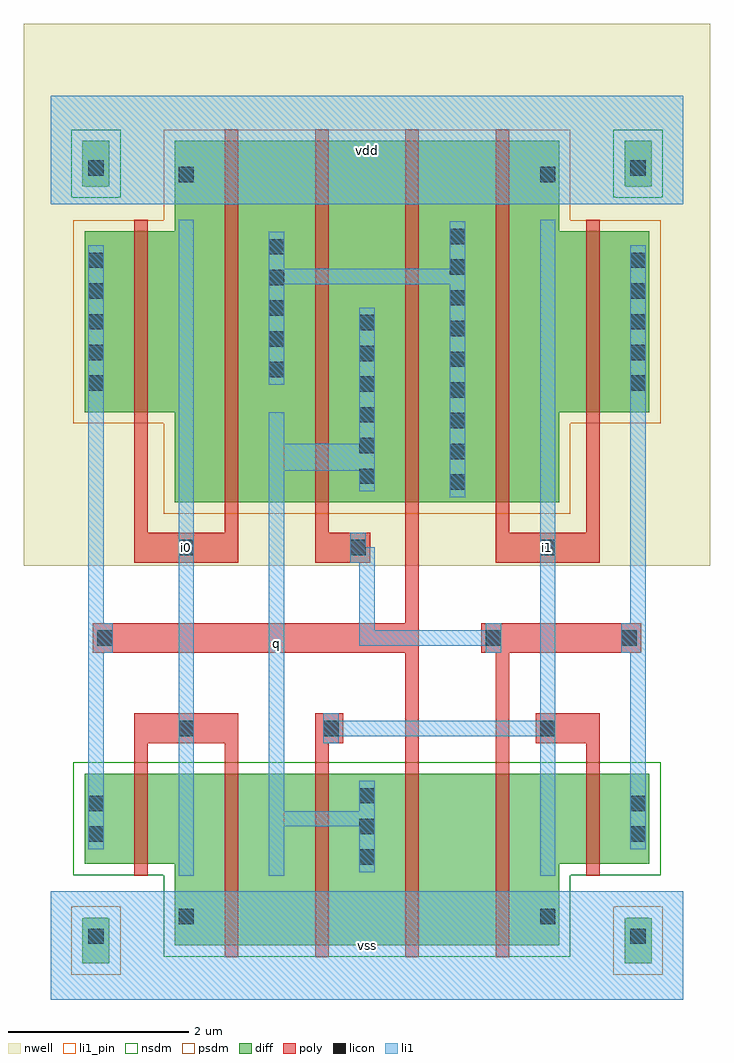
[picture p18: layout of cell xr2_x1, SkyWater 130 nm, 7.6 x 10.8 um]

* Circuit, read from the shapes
.subckt xr2_x1 i0 i1 q vdd vss
XM1 vss i0 n1 VSUBS sky130_fd_pr__nfet_01v8 w=1 l=0.15
XM2 n2 i0 vss VSUBS sky130_fd_pr__nfet_01v8 w=1.9 l=0.15
XM3 q i1 n2 VSUBS sky130_fd_pr__nfet_01v8 w=1.9 l=0.15
XM4 n3 n1 q VSUBS sky130_fd_pr__nfet_01v8 w=1.9 l=0.15
XM5 vss n4 n3 VSUBS sky130_fd_pr__nfet_01v8 w=1.9 l=0.15
XM6 n4 i1 vss VSUBS sky130_fd_pr__nfet_01v8 w=1 l=0.15
XM7 vdd i0 n1 n5 sky130_fd_pr__pfet_01v8 w=2 l=0.15
XM8 n6 i0 vdd n5 sky130_fd_pr__pfet_01v8 w=4 l=0.15
XM9 q n4 n6 n5 sky130_fd_pr__pfet_01v8 w=4 l=0.15
XM10 n6 n1 q n5 sky130_fd_pr__pfet_01v8 w=4 l=0.15
XM11 vdd i1 n6 n5 sky130_fd_pr__pfet_01v8 w=4 l=0.15
XM12 n4 i1 vdd n5 sky130_fd_pr__pfet_01v8 w=2 l=0.15
.ends

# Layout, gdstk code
import gdstk
lib = gdstk.Library(unit=1e-6, precision=1e-09)
def R(c, l, rs):  # rectangles x0, y0, x1, y1
    for r in rs: c.add(gdstk.rectangle(r[:2], r[2:], *l))
def A(c, l, x, y, w, h, nx, ny, dx, dy):  # array of equal rectangles
    R(c, l, [(x+i*dx, y+j*dy, x+i*dx+w, y+j*dy+h) for i in range(nx) for j in range(ny)])
def P(c, l, *ps):  # polygons
    for p in ps: c.add(gdstk.Polygon(p, *l))
nwell = (64, 20)
diff = (65, 20)
poly = (66, 20)
licon = (66, 44)
li1_pin = (67, 16)
li1 = (67, 20)
nsdm = (93, 44)
psdm = (94, 20)

xr2_x1 = lib.new_cell('xr2_x1')
R(xr2_x1, nwell, [(-0.3,4.8,7.3,10.8)])
P(xr2_x1, diff, [(0.35,0.4),(0.35,0.9),(0.375,0.9),(0.375,0.905),(0.625,0.905),(0.625,0.9),(0.65,0.9),(0.65,0.4)],
  [(6.35,0.4),(6.35,0.9),(6.375,0.9),(6.375,0.905),(6.625,0.905),(6.625,0.9),(6.65,0.9),(6.65,0.4)],
  [(1.375,0.6),(1.375,1.5),(0.375,1.5),(0.375,2.5),(6.625,2.5),(6.625,1.5),(5.625,1.5),(5.625,0.6)],
  [(0.375,8.995),(0.375,9),(0.35,9),(0.35,9.5),(0.65,9.5),(0.65,9),(0.625,9),(0.625,8.995)],
  [(1.375,5.5),(1.375,6.5),(0.375,6.5),(0.375,8.5),(1.375,8.5),(1.375,9.5),(5.625,9.5),(5.625,8.5),(6.625,8.5),(6.625,6.5),(5.625,6.5),(5.625,5.5)],
  [(6.375,8.995),(6.375,9),(6.35,9),(6.35,9.5),(6.65,9.5),(6.65,9),(6.625,9),(6.625,8.995)])
P(xr2_x1, poly, [(1.925,0.47),(1.925,2.835),(1.075,2.835),(1.075,1.37),(0.925,1.37),(0.925,3.165),(2.075,3.165),(2.075,0.47)],
  [(2.925,0.47),(2.925,3.165),(3.235,3.165),(3.235,2.835),(3.075,2.835),(3.075,0.47)],
  [(5.925,1.37),(5.925,2.835),(5.365,2.835),(5.365,3.165),(6.075,3.165),(6.075,1.37)],
  [(4.925,0.47),(4.925,3.835),(4.765,3.835),(4.765,4.165),(6.535,4.165),(6.535,3.835),(5.075,3.835),(5.075,0.47)],
  [(0.925,4.835),(0.925,8.63),(1.075,8.63),(1.075,5.165),(1.925,5.165),(1.925,9.63),(2.075,9.63),(2.075,4.835)],
  [(2.925,4.835),(2.925,9.63),(3.075,9.63),(3.075,5.165),(3.535,5.165),(3.535,4.835)],
  [(3.925,0.47),(3.925,3.835),(0.465,3.835),(0.465,4.165),(3.925,4.165),(3.925,9.63),(4.075,9.63),(4.075,0.47)],
  [(4.925,4.835),(4.925,9.63),(5.075,9.63),(5.075,5.165),(5.925,5.165),(5.925,8.63),(6.075,8.63),(6.075,4.835)])
A(xr2_x1, licon, 3.415, 1.49, 0.17, 0.17, 1, 3, 0, 0.34)
A(xr2_x1, licon, 4.415, 5.64, 0.17, 0.17, 1, 9, 0, 0.34)
A(xr2_x1, licon, 3.415, 5.705, 0.17, 0.17, 1, 6, 0, 0.34)
A(xr2_x1, licon, 0.415, 6.735, 0.17, 0.17, 1, 5, 0, 0.34)
A(xr2_x1, licon, 6.415, 6.735, 0.17, 0.17, 1, 5, 0, 0.34)
A(xr2_x1, licon, 2.415, 6.885, 0.17, 0.17, 1, 5, 0, 0.34)
R(xr2_x1, licon, [(0.415,0.615,0.585,0.785), (6.415,0.615,6.585,0.785), (1.415,0.835,1.585,1.005), (5.415,0.835,5.585,1.005), (0.415,1.745,0.585,1.915), (6.415,1.745,6.585,1.915), (0.415,2.085,0.585,2.255), (6.415,2.085,6.585,2.255), (1.415,2.915,1.585,3.085), (3.015,2.915,3.185,3.085), (5.415,2.915,5.585,3.085), (0.515,3.915,0.685,4.085), (4.815,3.915,4.985,4.085), (6.315,3.915,6.485,4.085), (1.415,4.915,1.585,5.085), (3.315,4.915,3.485,5.085), (5.415,4.915,5.585,5.085), (1.415,9.045,1.585,9.215), (5.415,9.045,5.585,9.215), (0.415,9.115,0.585,9.285), (6.415,9.115,6.585,9.285)])
R(xr2_x1, li1_pin, [(0,0,7,1.2), (1.415,1.37,1.585,8.63), (2.415,1.37,2.585,6.5), (5.415,1.37,5.585,8.63), (0,8.8,7,10)])
R(xr2_x1, li1, [(0,0,7,1.2), (1.415,1.37,1.585,8.63), (0,8.8,7,10)])
P(xr2_x1, li1, [(4.815,3.835),(4.815,3.915),(3.415,3.915),(3.415,4.835),(3.315,4.835),(3.315,5.165),(3.485,5.165),(3.485,5.005),(3.585,5.005),(3.585,4.085),(4.815,4.085),(4.815,4.165),(4.985,4.165),(4.985,3.835)],
  [(2.415,1.37),(2.415,6.5),(2.585,6.5),(2.585,6.15),(3.415,6.15),(3.415,7.655),(3.585,7.655),(3.585,5.625),(3.415,5.625),(3.415,5.85),(2.585,5.85),(2.585,2.085),(3.415,2.085),(3.415,2.42),(3.585,2.42),(3.585,1.41),(3.415,1.41),(3.415,1.915),(2.585,1.915),(2.585,1.37)],
  [(0.415,1.665),(0.415,8.345),(0.585,8.345),(0.585,4.165),(0.685,4.165),(0.685,3.835),(0.585,3.835),(0.585,1.665)],
  [(6.415,1.665),(6.415,3.835),(6.315,3.835),(6.315,4.165),(6.415,4.165),(6.415,8.345),(6.585,8.345),(6.585,1.665)],
  [(4.415,5.56),(4.415,7.915),(2.585,7.915),(2.585,6.805),(2.415,6.805),(2.415,8.495),(2.585,8.495),(2.585,8.085),(4.415,8.085),(4.415,8.61),(4.585,8.61),(4.585,5.56)],
  [(5.415,1.37),(5.415,2.915),(3.185,2.915),(3.185,2.835),(3.015,2.835),(3.015,3.165),(3.185,3.165),(3.185,3.085),(5.415,3.085),(5.415,8.63),(5.585,8.63),(5.585,1.37)])
P(xr2_x1, nsdm, [(1.25,0.475),(1.25,1.375),(0.25,1.375),(0.25,2.625),(6.75,2.625),(6.75,1.375),(5.75,1.375),(5.75,0.475)],
  [(0.25,8.87),(0.25,8.875),(0.225,8.875),(0.225,9.625),(0.775,9.625),(0.775,8.875),(0.75,8.875),(0.75,8.87)],
  [(6.25,8.87),(6.25,8.875),(6.225,8.875),(6.225,9.625),(6.775,9.625),(6.775,8.875),(6.75,8.875),(6.75,8.87)])
P(xr2_x1, psdm, [(0.225,0.275),(0.225,1.025),(0.25,1.025),(0.25,1.03),(0.75,1.03),(0.75,1.025),(0.775,1.025),(0.775,0.275)],
  [(6.225,0.275),(6.225,1.025),(6.25,1.025),(6.25,1.03),(6.75,1.03),(6.75,1.025),(6.775,1.025),(6.775,0.275)],
  [(1.25,5.375),(1.25,6.375),(0.25,6.375),(0.25,8.625),(1.25,8.625),(1.25,9.625),(5.75,9.625),(5.75,8.625),(6.75,8.625),(6.75,6.375),(5.75,6.375),(5.75,5.375)])
xr2_x1.add(gdstk.Label('q', (2.5,3.935), layer=67, texttype=16))
xr2_x1.add(gdstk.Label('vss', (3.5,0.6), layer=67, texttype=16))
xr2_x1.add(gdstk.Label('vdd', (3.5,9.4), layer=67, texttype=16))
xr2_x1.add(gdstk.Label('i0', (1.5,5), layer=67, texttype=16))
xr2_x1.add(gdstk.Label('i1', (5.5,5), layer=67, texttype=16))
xr2_x1.add(gdstk.Label('q', (2.5,3.935), layer=67, texttype=16))
xr2_x1.add(gdstk.Label('vss', (3.5,0.6), layer=67, texttype=16))
xr2_x1.add(gdstk.Label('vdd', (3.5,9.4), layer=67, texttype=16))
xr2_x1.add(gdstk.Label('i0', (1.5,5), layer=67, texttype=16))
xr2_x1.add(gdstk.Label('i1', (5.5,5), layer=67, texttype=16))

lib.write_gds('xr2_x1.gds')
